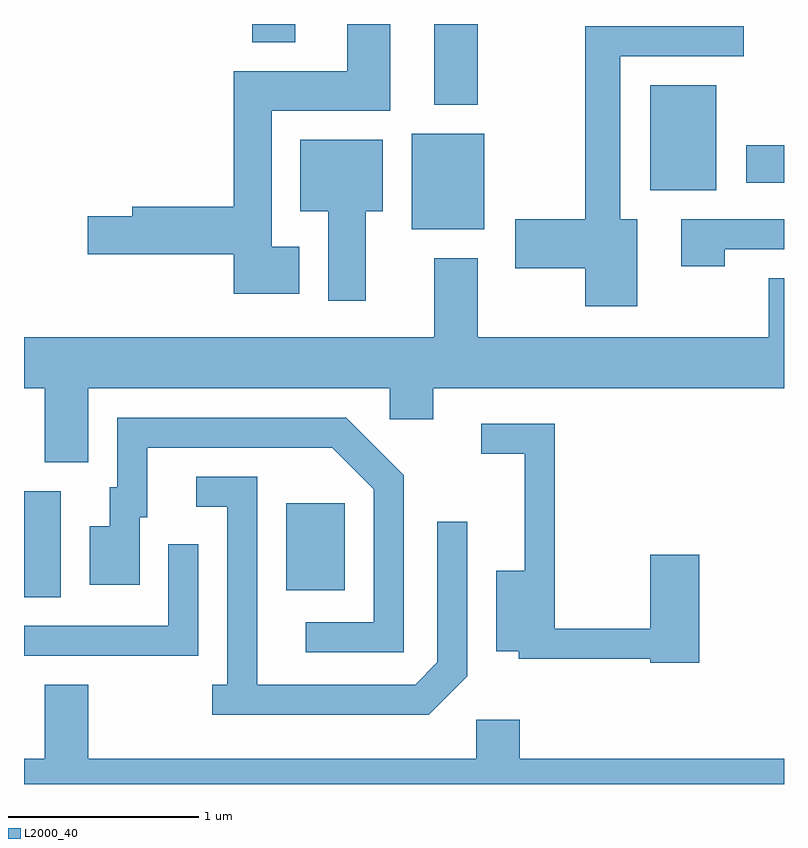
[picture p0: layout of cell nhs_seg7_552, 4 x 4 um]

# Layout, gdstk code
import gdstk
lib = gdstk.Library(unit=1e-6, precision=1e-09)
def R(c, l, rs):  # rectangles x0, y0, x1, y1
    for r in rs: c.add(gdstk.rectangle(r[:2], r[2:], *l))
def P(c, l, *ps):  # polygons
    for p in ps: c.add(gdstk.Polygon(p, *l))
L2000_40 = (2000, 40)

nhs_seg7_552 = lib.new_cell('nhs_seg7_552')
R(nhs_seg7_552, L2000_40, [(201.611,1693.236,201.804,1693.794), (202.991,1693.271,203.299,1693.729), (203.651,1695.171,204.034,1695.674), (204.906,1695.376,205.254,1695.929), (205.411,1695.416,205.611,1695.614), (203.771,1695.826,203.999,1696.252), (202.811,1696.156,203.039,1696.252)])
P(nhs_seg7_552, L2000_40, [(203.059,1695.079),(202.914,1695.079),(202.914,1695.796),(203.539,1695.796),(203.539,1696.252),(203.311,1696.252),(203.311,1696.004),(202.716,1696.004),(202.716,1695.289),(202.181,1695.289),(202.181,1695.239),(201.946,1695.239),(201.946,1695.041),(202.716,1695.041),(202.716,1694.831),(203.059,1694.831)],
  [(204.839,1695.224),(204.749,1695.224),(204.749,1696.081),(205.398,1696.081),(205.398,1696.239),(204.566,1696.239),(204.566,1695.224),(204.196,1695.224),(204.196,1694.966),(204.566,1694.966),(204.566,1694.766),(204.839,1694.766)],
  [(203.409,1695.266),(203.499,1695.266),(203.499,1695.644),(203.066,1695.644),(203.066,1695.266),(203.211,1695.266),(203.211,1694.796),(203.409,1694.796)],
  [(205.299,1695.066),(205.611,1695.066),(205.611,1695.224),(205.071,1695.224),(205.071,1694.976),(205.299,1694.976)],
  [(201.949,1694.336),(203.536,1694.336),(203.536,1694.171),(203.764,1694.171),(203.764,1694.336),(205.611,1694.336),(205.611,1694.914),(205.531,1694.914),(205.531,1694.604),(203.999,1694.604),(203.999,1695.019),(203.771,1695.019),(203.771,1694.604),(201.611,1694.604),(201.611,1694.336),(201.721,1694.336),(201.721,1693.946),(201.949,1693.946)],
  [(203.609,1693.877),(203.307,1694.179),(202.101,1694.179),(202.101,1693.814),(202.061,1693.814),(202.061,1693.609),(201.956,1693.609),(201.956,1693.301),(202.219,1693.301),(202.219,1693.656),(202.259,1693.656),(202.259,1694.021),(203.234,1694.021),(203.451,1693.804),(203.451,1693.104),(203.093,1693.104),(203.093,1692.946),(203.609,1692.946)],
  [(205.164,1693.459),(204.906,1693.459),(204.906,1693.069),(204.404,1693.069),(204.404,1694.149),(204.018,1694.149),(204.018,1693.991),(204.246,1693.991),(204.246,1693.374),(204.096,1693.374),(204.096,1692.951),(204.216,1692.951),(204.216,1692.911),(204.906,1692.911),(204.906,1692.891),(205.164,1692.891)],
  [(203.944,1692.819),(203.944,1693.633),(203.786,1693.633),(203.786,1692.892),(203.669,1692.774),(202.839,1692.774),(202.839,1693.869),(202.518,1693.869),(202.518,1693.711),(202.681,1693.711),(202.681,1692.774),(202.603,1692.774),(202.603,1692.616),(203.742,1692.616)],
  [(202.529,1693.513),(202.371,1693.513),(202.371,1693.084),(201.611,1693.084),(201.611,1692.926),(202.529,1692.926)],
  [(205.611,1692.384),(204.219,1692.384),(204.219,1692.589),(203.991,1692.589),(203.991,1692.384),(201.949,1692.384),(201.949,1692.774),(201.721,1692.774),(201.721,1692.384),(201.611,1692.384),(201.611,1692.252),(205.611,1692.252)])

lib.write_gds('nhs_seg7_552.gds')
